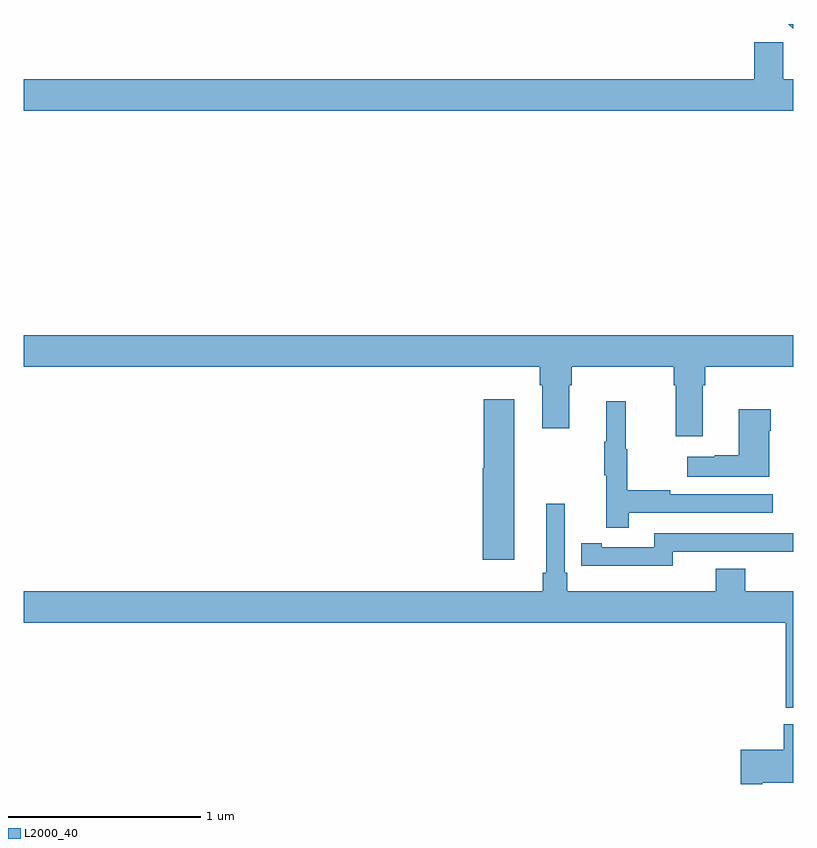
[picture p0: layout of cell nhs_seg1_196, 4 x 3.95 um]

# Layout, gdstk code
import gdstk
lib = gdstk.Library(unit=1e-6, precision=1e-09)
def P(c, l, *ps):  # polygons
    for p in ps: c.add(gdstk.Polygon(p, *l))
L2000_40 = (2000, 40)

nhs_seg1_196 = lib.new_cell('nhs_seg1_196')
P(nhs_seg1_196, L2000_40, [(125,536.199),(124.975,536.199),(125,536.174)],
  [(125,535.912),(124.949,535.912),(124.949,536.103),(124.799,536.103),(124.799,535.912),(121,535.912),(121,535.748),(125,535.748)],
  [(124.531,534.32),(124.544,534.32),(124.544,534.416),(125,534.416),(125,534.58),(121,534.58),(121,534.416),(123.683,534.416),(123.683,534.32),(123.695,534.32),(123.695,534.096),(123.835,534.096),(123.835,534.32),(123.848,534.32),(123.848,534.416),(124.379,534.416),(124.379,534.32),(124.391,534.32),(124.391,534.054),(124.531,534.054)],
  [(123.55,534.247),(123.392,534.247),(123.392,533.889),(123.386,533.889),(123.386,533.412),(123.55,533.412)],
  [(124.145,533.658),(124.894,533.658),(124.894,533.754),(124.361,533.754),(124.361,533.774),(124.138,533.774),(124.138,533.988),(124.13,533.988),(124.13,534.238),(124.028,534.238),(124.028,534.025),(124.017,534.025),(124.017,533.851),(124.028,533.851),(124.028,533.58),(124.145,533.58)],
  [(124.876,534.083),(124.884,534.083),(124.884,534.196),(124.718,534.196),(124.718,533.957),(124.592,533.957),(124.592,533.947),(124.449,533.947),(124.449,533.843),(124.876,533.843)],
  [(125,533.248),(124.751,533.248),(124.751,533.365),(124.598,533.365),(124.598,533.248),(123.827,533.248),(123.827,533.344),(123.813,533.344),(123.813,533.704),(123.716,533.704),(123.716,533.344),(123.697,533.344),(123.697,533.248),(121,533.248),(121,533.084),(124.961,533.084),(124.961,532.643),(125,532.643)],
  [(124.374,533.454),(124.834,533.454),(124.834,533.453),(125,533.453),(125,533.55),(124.278,533.55),(124.278,533.478),(124.006,533.478),(124.006,533.498),(123.898,533.498),(123.898,533.382),(124.006,533.382),(124.006,533.381),(124.374,533.381)],
  [(124.84,532.253),(125,532.253),(125,532.558),(124.952,532.558),(124.952,532.424),(124.728,532.424),(124.728,532.246),(124.84,532.246)])

lib.write_gds('nhs_seg1_196.gds')
